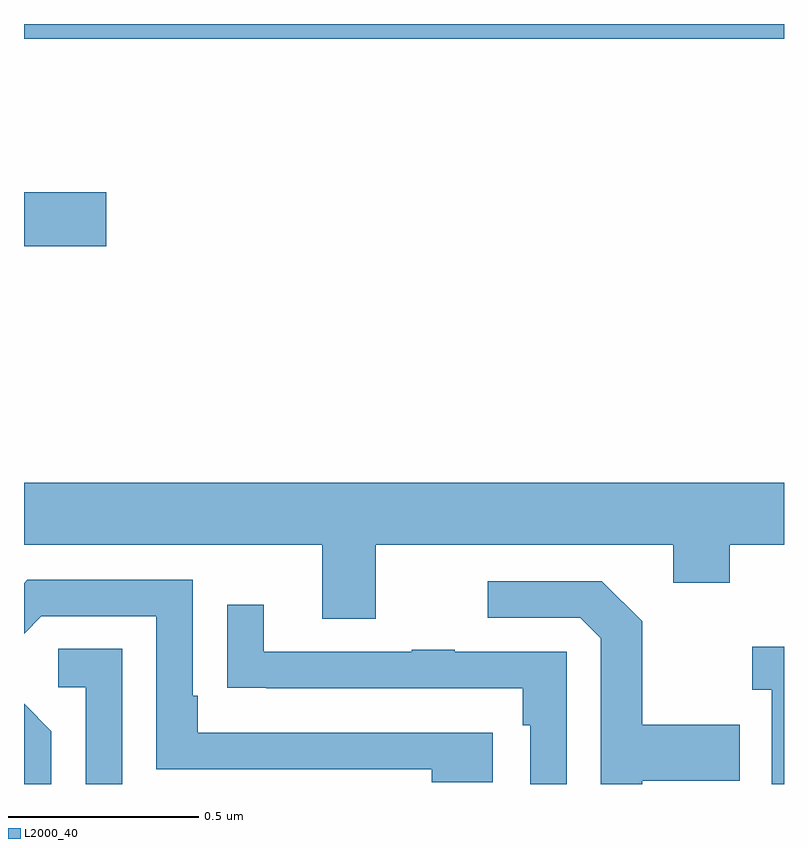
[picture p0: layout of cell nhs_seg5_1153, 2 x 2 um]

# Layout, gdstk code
import gdstk
lib = gdstk.Library(unit=1e-6, precision=1e-09)
def R(c, l, rs):  # rectangles x0, y0, x1, y1
    for r in rs: c.add(gdstk.rectangle(r[:2], r[2:], *l))
def P(c, l, *ps):  # polygons
    for p in ps: c.add(gdstk.Polygon(p, *l))
L2000_40 = (2000, 40)

nhs_seg5_1153 = lib.new_cell('nhs_seg5_1153')
R(nhs_seg5_1153, L2000_40, [(126,856.214,126.217,856.356), (126,856.76,128,856.799)])
P(nhs_seg5_1153, L2000_40, [(126.925,855.428),(127.709,855.428),(127.709,855.329),(127.857,855.329),(127.857,855.428),(128,855.428),(128,855.592),(126,855.592),(126,855.428),(126.785,855.428),(126.785,855.234),(126.925,855.234)],
  [(127.234,854.934),(126.457,854.934),(126.457,855.031),(126.444,855.031),(126.444,855.336),(126.009,855.336),(126,855.327),(126,855.195),(126.045,855.24),(126.348,855.24),(126.348,854.838),(127.073,854.838),(127.073,854.804),(127.234,854.804)],
  [(127.627,854.807),(127.883,854.807),(127.883,854.955),(127.627,854.955),(127.627,855.227),(127.521,855.333),(127.221,855.333),(127.221,855.237),(127.464,855.237),(127.518,855.183),(127.518,854.799),(127.627,854.799)],
  [(127.428,855.147),(127.133,855.147),(127.133,855.152),(127.021,855.152),(127.021,855.147),(126.631,855.147),(126.631,855.271),(126.535,855.271),(126.535,855.052),(126.637,855.052),(126.637,855.051),(127.312,855.051),(127.312,854.954),(127.332,854.954),(127.332,854.799),(127.428,854.799)],
  [(128,855.16),(127.917,855.16),(127.917,855.047),(127.968,855.047),(127.968,854.799),(128,854.799)],
  [(126.258,855.155),(126.09,855.155),(126.09,855.054),(126.162,855.054),(126.162,854.799),(126.258,854.799)],
  [(126.072,854.938),(126,855.01),(126,854.799),(126.072,854.799)])

lib.write_gds('nhs_seg5_1153.gds')
